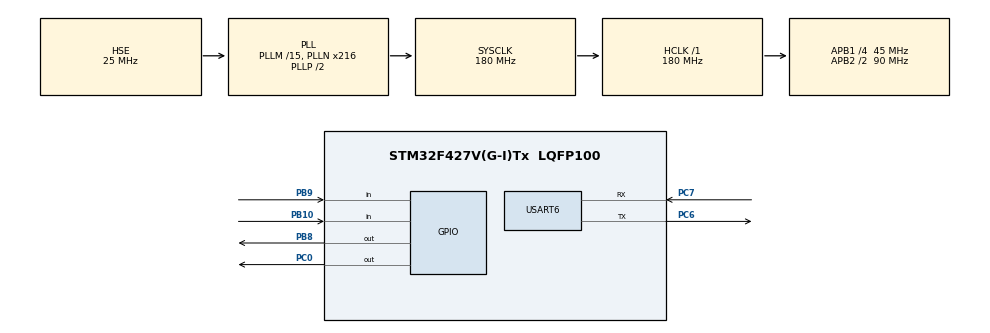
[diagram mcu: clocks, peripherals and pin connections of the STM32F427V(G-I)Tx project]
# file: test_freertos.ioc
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Dma.Request0=USART6_TX
Dma.Request1=USART6_RX
Dma.USART6_RX.1.Direction=DMA_PERIPH_TO_MEMORY
Dma.USART6_RX.1.FIFOMode=DMA_FIFOMODE_DISABLE
Dma.USART6_RX.1.Instance=DMA2_Stream1
Dma.USART6_RX.1.MemDataAlignment=DMA_MDATAALIGN_BYTE
Dma.USART6_RX.1.MemInc=DMA_MINC_ENABLE
Dma.USART6_RX.1.Mode=DMA_NORMAL
Dma.USART6_RX.1.PeriphDataAlignment=DMA_PDATAALIGN_BYTE
Dma.USART6_RX.1.PeriphInc=DMA_PINC_DISABLE
Dma.USART6_RX.1.Priority=DMA_PRIORITY_LOW
Dma.USART6_TX.0.Direction=DMA_MEMORY_TO_PERIPH
Dma.USART6_TX.0.FIFOMode=DMA_FIFOMODE_DISABLE
Dma.USART6_TX.0.Instance=DMA2_Stream6
Dma.USART6_TX.0.MemDataAlignment=DMA_MDATAALIGN_BYTE
Dma.USART6_TX.0.MemInc=DMA_MINC_ENABLE
Dma.USART6_TX.0.Mode=DMA_NORMAL
Dma.USART6_TX.0.PeriphDataAlignment=DMA_PDATAALIGN_BYTE
Dma.USART6_TX.0.PeriphInc=DMA_PINC_DISABLE
Dma.USART6_TX.0.Priority=DMA_PRIORITY_LOW
FREERTOS.Queues01=Btn1_Queue,16,uint16_t,0,Dynamic,NULL,NULL;Btn2_Queue,16,uint16_t,0,Dynamic,NULL,NULL
FREERTOS.Tasks01=Btn_Task,24,128,StartBtn_Task,Default,NULL,Dynamic,NULL,NULL;LED_Task,24,128,StartLED_Task,Default,NULL,Dynamic,NULL,NULL;Motor_Task,24,128,StartMotor_Task,Default,NULL,Dynamic,NULL,NULL
Mcu.Family=STM32F4
Mcu.Name=STM32F427V(G-I)Tx
Mcu.Package=LQFP100
NVIC.DMA2_Stream1_IRQn=true\:5\:0\:false\:false\:true\:true\:false\:true\:true
NVIC.DMA2_Stream6_IRQn=true\:5\:0\:false\:false\:true\:true\:false\:true\:true
NVIC.PriorityGroup=NVIC_PRIORITYGROUP_4
NVIC.TIM4_IRQn=true\:15\:0\:false\:false\:true\:false\:false\:true\:true
NVIC.TimeBase=TIM4_IRQn
NVIC.TimeBaseIP=TIM4
NVIC.USART6_IRQn=true\:5\:0\:false\:false\:true\:true\:true\:true\:true
PA13.Mode=Serial_Wire
PA13.Signal=SYS_JTMS-SWDIO
PA14.Mode=Serial_Wire
PA14.Signal=SYS_JTCK-SWCLK
PB10.GPIO_PuPd=GPIO_PULLUP
PB10.Signal=GPIO_Input
PB8.Signal=GPIO_Output
PB9.GPIO_PuPd=GPIO_PULLUP
PB9.Signal=GPIO_Input
PC0.GPIO_PuPd=GPIO_PULLDOWN
PC0.Signal=GPIO_Output
PC6.Mode=Asynchronous
PC6.Signal=USART6_TX
PC7.Mode=Asynchronous
PC7.Signal=USART6_RX
PH0/OSC_IN.Mode=HSE-External-Clock-Source
PH0/OSC_IN.Signal=RCC_OSC_IN
PH1/OSC_OUT.Mode=HSE-External-Clock-Source
PH1/OSC_OUT.Signal=RCC_OSC_OUT
ProjectManager.HeapSize=0x200
ProjectManager.StackSize=0x400
ProjectManager.TargetToolchain=Makefile
RCC.48MHZClocksFreq_Value=90000000
RCC.AHBFreq_Value=180000000
RCC.APB1CLKDivider=RCC_HCLK_DIV4
RCC.APB1Freq_Value=45000000
RCC.APB1TimFreq_Value=90000000
RCC.APB2CLKDivider=RCC_HCLK_DIV2
RCC.APB2Freq_Value=90000000
RCC.APB2TimFreq_Value=180000000
RCC.CortexFreq_Value=180000000
RCC.HCLKFreq_Value=180000000
RCC.HSE_VALUE=25000000
RCC.HSI_VALUE=16000000
RCC.LSE_VALUE=32768
RCC.PLLM=15
RCC.PLLN=216
RCC.PLLSourceVirtual=RCC_PLLSOURCE_HSE
RCC.SYSCLKFreq_VALUE=180000000
RCC.SYSCLKSource=RCC_SYSCLKSOURCE_PLLCLK
RCC.VCOOutputFreq_Value=360000000
USART6.VirtualMode=VM_ASYNC
VP_FREERTOS_VS_CMSIS_V2.Mode=CMSIS_V2
VP_SYS_VS_tim4.Mode=TIM4
board=custom

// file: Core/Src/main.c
/* USER CODE BEGIN Header */
/**
  ******************************************************************************
  * @file           : main.c
  * @brief          : Main program body
  ******************************************************************************
  * @attention
  *
  * Copyright (c) 2026 STMicroelectronics.
  * All rights reserved.
  *
  * This software is licensed under terms that can be found in the LICENSE file
  * in the root directory of this software component.
  * If no LICENSE file comes with this software, it is provided AS-IS.
  *
  ******************************************************************************
  */
/* USER CODE END Header */
#include "main.h"
#include "cmsis_os.h"
#include "dma.h"
#include "usart.h"
#include "gpio.h"

void SystemClock_Config(void);
void MX_FREERTOS_Init(void);

int main(void)
{

  /* MCU Configuration--------------------------------------------------------*/

  /* Reset of all peripherals, Initializes the Flash interface and the Systick. */
  HAL_Init();

  /* Configure the system clock */
  SystemClock_Config();

  /* Initialize all configured peripherals */
  MX_GPIO_Init();
  MX_DMA_Init();
  MX_USART6_UART_Init();

  /* Init scheduler */
  osKernelInitialize();

  /* Call init function for freertos objects (in cmsis_os2.c) */
  MX_FREERTOS_Init();

  /* Start scheduler */
  osKernelStart();

  /* We should never get here as control is now taken by the scheduler */

  /* Infinite loop */
  while (1)
  {

  }
}

void SystemClock_Config(void)
{
  RCC_OscInitTypeDef RCC_OscInitStruct = {0};
  RCC_ClkInitTypeDef RCC_ClkInitStruct = {0};

  /** Configure the main internal regulator output voltage
  */
  __HAL_RCC_PWR_CLK_ENABLE();
  __HAL_PWR_VOLTAGESCALING_CONFIG(PWR_REGULATOR_VOLTAGE_SCALE1);

  /** Initializes the RCC Oscillators according to the specified parameters
  * in the RCC_OscInitTypeDef structure.
  */
  RCC_OscInitStruct.OscillatorType = RCC_OSCILLATORTYPE_HSE;
  RCC_OscInitStruct.HSEState = RCC_HSE_BYPASS;
  RCC_OscInitStruct.PLL.PLLState = RCC_PLL_ON;
  RCC_OscInitStruct.PLL.PLLSource = RCC_PLLSOURCE_HSE;
  RCC_OscInitStruct.PLL.PLLM = 15;
  RCC_OscInitStruct.PLL.PLLN = 216;
  RCC_OscInitStruct.PLL.PLLP = RCC_PLLP_DIV2;
  RCC_OscInitStruct.PLL.PLLQ = 4;
  if (HAL_RCC_OscConfig(&RCC_OscInitStruct) != HAL_OK)
  {
    Error_Handler();
  }

  /** Activate the Over-Drive mode
  */
  if (HAL_PWREx_EnableOverDrive() != HAL_OK)
  {
    Error_Handler();
  }

  /** Initializes the CPU, AHB and APB buses clocks
  */
  RCC_ClkInitStruct.ClockType = RCC_CLOCKTYPE_HCLK|RCC_CLOCKTYPE_SYSCLK
                              |RCC_CLOCKTYPE_PCLK1|RCC_CLOCKTYPE_PCLK2;
  RCC_ClkInitStruct.SYSCLKSource = RCC_SYSCLKSOURCE_PLLCLK;
  RCC_ClkInitStruct.AHBCLKDivider = RCC_SYSCLK_DIV1;
  RCC_ClkInitStruct.APB1CLKDivider = RCC_HCLK_DIV4;
  RCC_ClkInitStruct.APB2CLKDivider = RCC_HCLK_DIV2;

  if (HAL_RCC_ClockConfig(&RCC_ClkInitStruct, FLASH_LATENCY_5) != HAL_OK)
  {
    Error_Handler();
  }
}

void HAL_TIM_PeriodElapsedCallback(TIM_HandleTypeDef *htim)
{
  if (htim->Instance == TIM4) {
    HAL_IncTick();
  }
}

void Error_Handler(void)
{
  __disable_irq();
  while (1)
  {
  }
}

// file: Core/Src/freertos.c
/* USER CODE BEGIN Header */
/**
  ******************************************************************************
  * File Name          : freertos.c
  * Description        : Code for freertos applications
  ******************************************************************************
  * @attention
  *
  * Copyright (c) 2026 STMicroelectronics.
  * All rights reserved.
  *
  * This software is licensed under terms that can be found in the LICENSE file
  * in the root directory of this software component.
  * If no LICENSE file comes with this software, it is provided AS-IS.
  *
  ******************************************************************************
  */
/* USER CODE END Header */

#include "FreeRTOS.h"
#include "task.h"
#include "main.h"
#include "cmsis_os.h"

/* USER CODE BEGIN Includes */
#include "Emm_V5.h"
#include "stdbool.h"
/* USER CODE END Includes */

/* USER CODE BEGIN PTD */
uint16_t btn1_counter = 0;
uint16_t btn2_counter = 0;

/* USER CODE END PTD */

/* Definitions for Btn_Task */
osThreadId_t Btn_TaskHandle;
const osThreadAttr_t Btn_Task_attributes = {
  .name = "Btn_Task",
  .stack_size = 128 * 4,
  .priority = (osPriority_t) osPriorityNormal,
};
/* Definitions for LED_Task */
osThreadId_t LED_TaskHandle;
const osThreadAttr_t LED_Task_attributes = {
  .name = "LED_Task",
  .stack_size = 128 * 4,
  .priority = (osPriority_t) osPriorityNormal,
};
/* Definitions for Motor_Task */
osThreadId_t Motor_TaskHandle;
const osThreadAttr_t Motor_Task_attributes = {
  .name = "Motor_Task",
  .stack_size = 128 * 4,
  .priority = (osPriority_t) osPriorityNormal,
};
/* Definitions for Btn1_Queue */
osMessageQueueId_t Btn1_QueueHandle;
const osMessageQueueAttr_t Btn1_Queue_attributes = {
  .name = "Btn1_Queue"
};
/* Definitions for Btn2_Queue */
osMessageQueueId_t Btn2_QueueHandle;
const osMessageQueueAttr_t Btn2_Queue_attributes = {
  .name = "Btn2_Queue"
};

void StartBtn_Task(void *argument);
void StartLED_Task(void *argument);
void StartMotor_Task(void *argument);

void MX_FREERTOS_Init(void); /* (MISRA C 2004 rule 8.1) */

void MX_FREERTOS_Init(void) {

  /* Create the queue(s) */
  /* creation of Btn1_Queue */
  Btn1_QueueHandle = osMessageQueueNew (16, sizeof(uint16_t), &Btn1_Queue_attributes);

  /* creation of Btn2_Queue */
  Btn2_QueueHandle = osMessageQueueNew (16, sizeof(uint16_t), &Btn2_Queue_attributes);

  /* Create the thread(s) */
  /* creation of Btn_Task */
  Btn_TaskHandle = osThreadNew(StartBtn_Task, NULL, &Btn_Task_attributes);

  /* creation of LED_Task */
  LED_TaskHandle = osThreadNew(StartLED_Task, NULL, &LED_Task_attributes);

  /* creation of Motor_Task */
  Motor_TaskHandle = osThreadNew(StartMotor_Task, NULL, &Motor_Task_attributes);

}

void StartBtn_Task(void *argument)
{
  /* USER CODE BEGIN StartBtn_Task */

  /* Infinite loop */
  for(;;)
  {
    if (HAL_GPIO_ReadPin(GPIOB, GPIO_PIN_9) == GPIO_PIN_RESET)
    {
      osDelay(10); // 防抖延时
      if (HAL_GPIO_ReadPin(GPIOB, GPIO_PIN_9) == GPIO_PIN_RESET)
      {
        btn1_counter++;
        osMessageQueuePut(Btn1_QueueHandle, &btn1_counter, NULL, osWaitForever);
      }
      while (HAL_GPIO_ReadPin(GPIOB, GPIO_PIN_9) == GPIO_PIN_RESET)
      {
        osDelay(10); // 等待按键释放
      }
    }
    else
    {
      osDelay(10);
    }
  }
  /* USER CODE END StartBtn_Task */
}

void StartLED_Task(void *argument)
{
  /* USER CODE BEGIN StartLED_Task */

  /* Infinite loop */
  for(;;)
  {
    // osMessageQueueGet(Btn1_QueueHandle, &btn1_counter, NULL, osWaitForever);
    // if (btn1_counter % 2 == 0) {
    //   HAL_GPIO_WritePin(GPIOC, GPIO_PIN_0, GPIO_PIN_RESET);
    // }
    // else
    // {
    //   HAL_GPIO_WritePin(GPIOC, GPIO_PIN_0, GPIO_PIN_SET);
    // }
    osDelay(1);
  }
  /* USER CODE END StartLED_Task */
}

void StartMotor_Task(void *argument)
{
  /* USER CODE BEGIN StartMotor_Task */
  uint16_t motor_vel_init = 500;
  Emm_V5_En_Control(0x01, true, false);
  osDelay(10);
  Emm_V5_Vel_Control(0x01, 0x00, motor_vel_init, 50, false);
  osDelay(10);
  /* Infinite loop */
  for(;;)
  {
    osMessageQueueGet(Btn1_QueueHandle, &btn1_counter, NULL, osWaitForever);
    if (btn1_counter % 2 == 0)
    {
      Emm_V5_Vel_Control(0x01, 0x00, motor_vel_init, 50, false);
    }
    else
    {
      Emm_V5_Vel_Control(0x01, 0x01, 0, 50, false);
    }
    osDelay(10);
  }
  /* USER CODE END StartMotor_Task */
}
